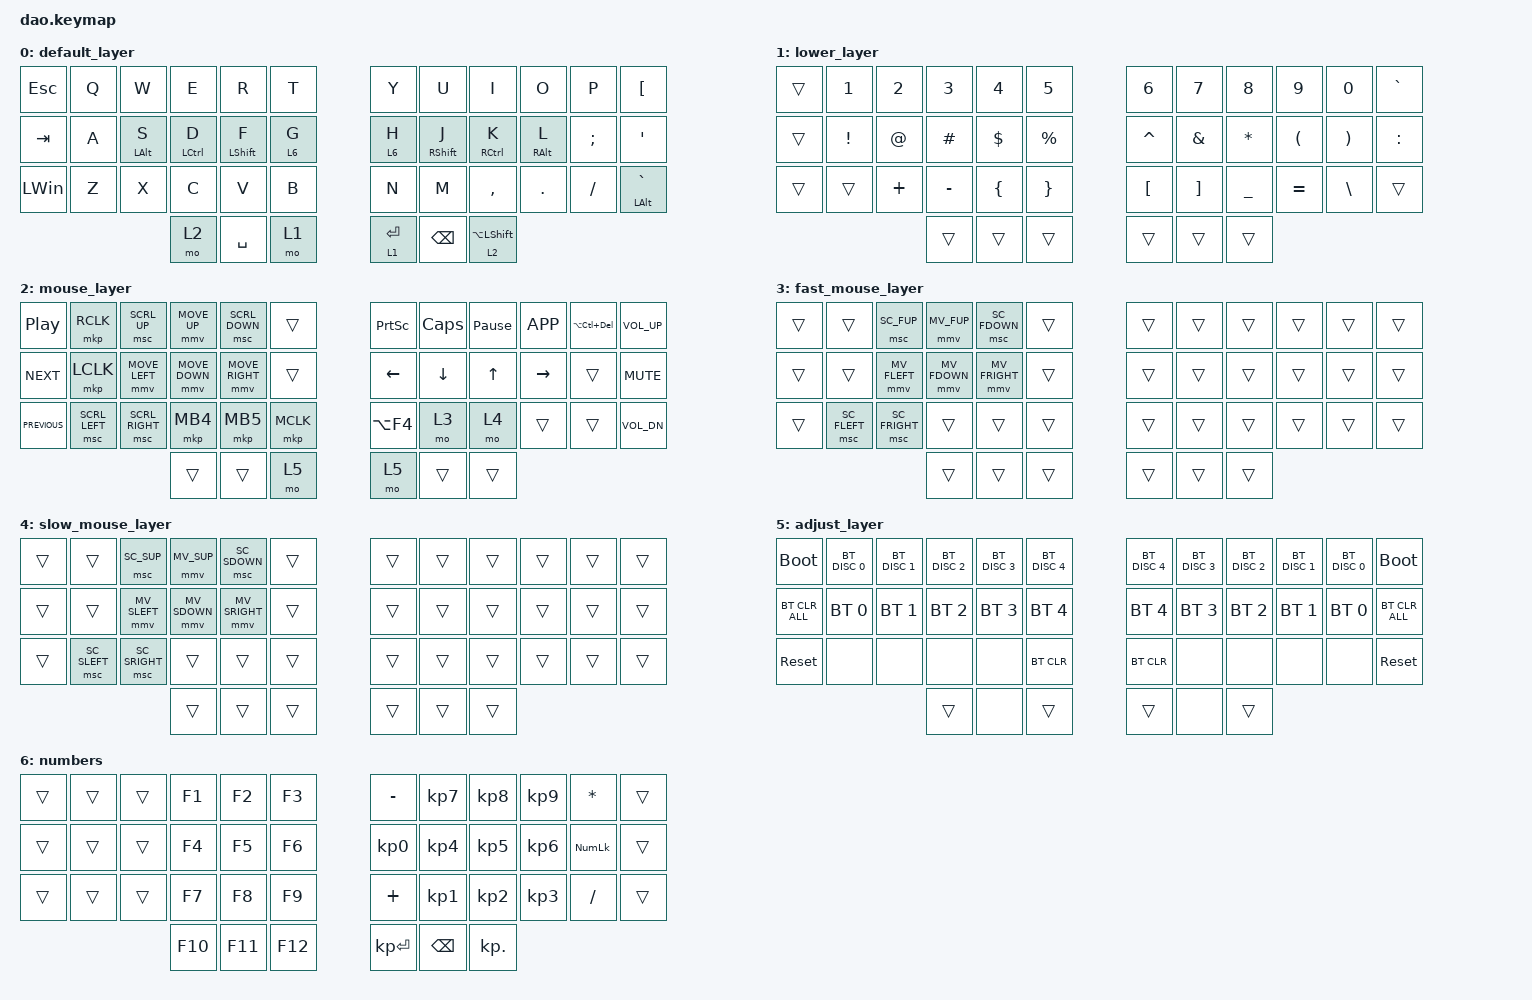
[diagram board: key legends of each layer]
#include "colemator/mouse.dtsi"
#include <dt-bindings/zmk/mouse.h>
#include <behaviors.dtsi>
#include <dt-bindings/zmk/bt.h>
#include <dt-bindings/zmk/keys.h>

#define DEF 0
#define LWR 1
#define MOS 2
#define ADJ 3
#define FMO 4
#define SMO 5
#define U_TAPPING_TERM 200
#define U_QUICK_TAP 200
#define U_STREAK_DECAY 150
#define LEFT_HAND_KEYS   \
     0  1  2  3  4  5    \
    12 13 14 15 16 17    \
    24 25 26 27 28 29
#define RIGHT_HAND_KEYS  \
                          6  7  8  9 10 11 \
                         18 19 20 21 22 23 \
                         30 31 32 33 34 35
#define LEFT_THUMB_KEYS  \
             36 37 38
#define RIGHT_THUMB_KEYS \
                         39 40 41

&lt {
    flavor = "balanced";
    tapping-term-ms = <U_TAPPING_TERM>;
    quick-tap-ms = <U_QUICK_TAP>;
};

&mt {
    flavor = "balanced";
    tapping-term-ms = <U_TAPPING_TERM>;
    quick-tap-ms = <U_QUICK_TAP>;
};

/ {
    chosen {
        zmk,matrix_transform = &default_transform;

        // zmk,matrix_transform = &extra_keys_transform;
    };
};

/ {
    behaviors {
        // Global

        lsht: left_shift_tap {
            compatible = "zmk,behavior-hold-tap";
            flavor = "balanced";
            hold-trigger-key-positions = <RIGHT_HAND_KEYS RIGHT_THUMB_KEYS>;
            hold-trigger-on-release; // for combining HRMs
            tapping-term-ms = <U_TAPPING_TERM>;
            quick-tap-ms = <U_QUICK_TAP>;
            #binding-cells = <2>;
            bindings = <&kp>, <&kp>;
        };

        lmt: left_mod_tap {
            compatible = "zmk,behavior-hold-tap";
            flavor = "balanced";
            hold-trigger-key-positions = <RIGHT_HAND_KEYS RIGHT_THUMB_KEYS>;
            hold-trigger-on-release; // for combining HRMs
            tapping-term-ms = <U_TAPPING_TERM>;
            quick-tap-ms = <U_QUICK_TAP>;
            require-prior-idle-ms = <U_STREAK_DECAY>;
            #binding-cells = <2>;
            bindings = <&kp>, <&kp>;
        };

        rsht: right_shift_tap {
            compatible = "zmk,behavior-hold-tap";
            flavor = "balanced";
            hold-trigger-key-positions = <LEFT_HAND_KEYS LEFT_THUMB_KEYS>;
            hold-trigger-on-release; // for combining HRMs
            tapping-term-ms = <U_TAPPING_TERM>;
            quick-tap-ms = <U_QUICK_TAP>;
            #binding-cells = <2>;
            bindings = <&kp>, <&kp>;
        };

        rmt: right_mod_tap {
            compatible = "zmk,behavior-hold-tap";
            flavor = "balanced";
            hold-trigger-key-positions = <LEFT_HAND_KEYS LEFT_THUMB_KEYS>;
            hold-trigger-on-release; // for combining HRMs
            tapping-term-ms = <U_TAPPING_TERM>;
            quick-tap-ms = <U_QUICK_TAP>;
            require-prior-idle-ms = <U_STREAK_DECAY>;
            #binding-cells = <2>;
            bindings = <&kp>, <&kp>;
        };

        mlt: mouse_layer_tap {
            compatible = "zmk,behavior-hold-tap";
            flavor = "hold-preferred";
            tapping-term-ms = <U_TAPPING_TERM>;
            quick-tap-ms = <U_QUICK_TAP>;
            #binding-cells = <2>;
            bindings = <&mo>, <&kp>;
        };
    };
};

/ {
    keymap {
        compatible = "zmk,keymap";

        default_layer {
            bindings = <
&kp ESC       &kp Q  &kp W            &kp E         &kp R               &kp T    &kp Y        &kp U                &kp I                 &kp O             &kp P     &kp LBKT
&kp TAB       &kp A  &lmt LEFT_ALT S  &lmt LCTRL D  &lsht LEFT_SHIFT F  &lt 6 G  &lt 6 H      &rsht RIGHT_SHIFT J  &rmt RCTRL K          &rmt RIGHT_ALT L  &kp SEMI  &kp SQT
&kp LEFT_WIN  &kp Z  &kp X            &kp C         &kp V               &kp B    &kp N        &kp M                &kp COMMA             &kp DOT           &kp FSLH  &mt LEFT_ALT GRAVE
                                      &mo 2         &kp SPACE           &mo 1    &lt 1 ENTER  &kp BACKSPACE        &lt 2 LA(LEFT_SHIFT)
            >;
        };

        lower_layer {
            bindings = <
&trans  &kp N1    &kp N2    &kp N3     &kp N4          &kp N5           &kp N6            &kp N7             &kp N8          &kp N9     &kp N0         &kp GRAVE
&trans  &kp EXCL  &kp AT    &kp HASH   &kp DLLR        &kp PRCNT        &kp CARET         &kp AMPS           &kp STAR        &kp LPAR   &kp RPAR       &kp COLON
&trans  &trans    &kp PLUS  &kp MINUS  &kp LEFT_BRACE  &kp RIGHT_BRACE  &kp LEFT_BRACKET  &kp RIGHT_BRACKET  &kp UNDERSCORE  &kp EQUAL  &kp BACKSLASH  &trans
                            &trans     &trans          &trans           &trans            &trans             &trans
            >;
        };

        mouse_layer {
            bindings = <
&kp C_PLAY_PAUSE  &mkp RCLK       &msc SCRL_UP     &mmv MOVE_UP    &msc SCRL_DOWN   &trans     &kp PRINTSCREEN  &kp CAPS        &kp PAUSE_BREAK  &kp K_APP        &kp LA(LC(DELETE))  &kp C_VOL_UP
&kp C_NEXT        &mkp LCLK       &mmv MOVE_LEFT   &mmv MOVE_DOWN  &mmv MOVE_RIGHT  &trans     &kp LEFT_ARROW   &kp DOWN_ARROW  &kp UP_ARROW     &kp RIGHT_ARROW  &trans              &kp C_MUTE
&kp C_PREVIOUS    &msc SCRL_LEFT  &msc SCRL_RIGHT  &mkp MB4        &mkp MB5         &mkp MCLK  &kp LA(F4)       &mo 3           &mo 4            &trans           &trans              &kp C_VOL_DN
                                                   &trans          &trans           &mo 5      &mo 5            &trans          &trans
            >;
        };

        fast_mouse_layer {
            bindings = <
&trans  &trans         &msc SC_FUP     &mmv MV_FUP    &msc SC_FDOWN   &trans  &trans  &trans  &trans  &trans  &trans  &trans
&trans  &trans         &mmv MV_FLEFT   &mmv MV_FDOWN  &mmv MV_FRIGHT  &trans  &trans  &trans  &trans  &trans  &trans  &trans
&trans  &msc SC_FLEFT  &msc SC_FRIGHT  &trans         &trans          &trans  &trans  &trans  &trans  &trans  &trans  &trans
                                       &trans         &trans          &trans  &trans  &trans  &trans
            >;
        };

        slow_mouse_layer {
            bindings = <
&trans  &trans         &msc SC_SUP     &mmv MV_SUP    &msc SC_SDOWN   &trans  &trans  &trans  &trans  &trans  &trans  &trans
&trans  &trans         &mmv MV_SLEFT   &mmv MV_SDOWN  &mmv MV_SRIGHT  &trans  &trans  &trans  &trans  &trans  &trans  &trans
&trans  &msc SC_SLEFT  &msc SC_SRIGHT  &trans         &trans          &trans  &trans  &trans  &trans  &trans  &trans  &trans
                                       &trans         &trans          &trans  &trans  &trans  &trans
            >;
        };

        adjust_layer {
            bindings = <
&bootloader     &bt BT_DISC 0  &bt BT_DISC 1  &bt BT_DISC 2  &bt BT_DISC 3  &bt BT_DISC 4  &bt BT_DISC 4  &bt BT_DISC 3  &bt BT_DISC 2  &bt BT_DISC 1  &bt BT_DISC 0  &bootloader
&bt BT_CLR_ALL  &bt BT_SEL 0   &bt BT_SEL 1   &bt BT_SEL 2   &bt BT_SEL 3   &bt BT_SEL 4   &bt BT_SEL 4   &bt BT_SEL 3   &bt BT_SEL 2   &bt BT_SEL 1   &bt BT_SEL 0   &bt BT_CLR_ALL
&sys_reset      &none          &none          &none          &none          &bt BT_CLR     &bt BT_CLR     &none          &none          &none          &none          &sys_reset
                                              &trans         &none          &trans         &trans         &none          &trans
            >;
        };

        numbers {
            bindings = <
&trans  &trans  &trans  &kp F1   &kp F2   &kp F3   &kp MINUS        &kp KP_NUMBER_7  &kp KP_NUMBER_8  &kp KP_NUMBER_9  &kp ASTERISK    &trans
&trans  &trans  &trans  &kp F4   &kp F5   &kp F6   &kp KP_NUMBER_0  &kp KP_NUMBER_4  &kp KP_NUMBER_5  &kp KP_NUMBER_6  &kp KP_NUMLOCK  &trans
&trans  &trans  &trans  &kp F7   &kp F8   &kp F9   &kp PLUS         &kp KP_NUMBER_1  &kp KP_NUMBER_2  &kp KP_NUMBER_3  &kp SLASH       &trans
                        &kp F10  &kp F11  &kp F12  &kp KP_ENTER     &kp BACKSPACE    &kp KP_DOT
            >;
        };
    };
};
